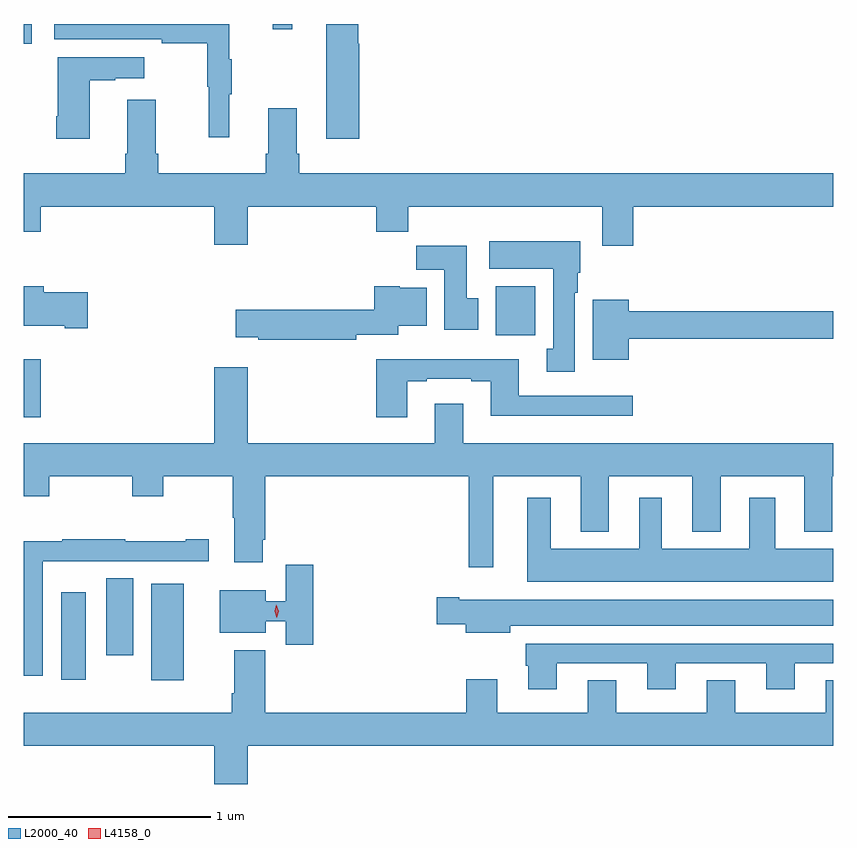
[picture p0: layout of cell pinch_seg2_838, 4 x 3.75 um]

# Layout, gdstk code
import gdstk
lib = gdstk.Library(unit=1e-6, precision=1e-09)
def R(c, l, rs):  # rectangles x0, y0, x1, y1
    for r in rs: c.add(gdstk.rectangle(r[:2], r[2:], *l))
def P(c, l, *ps):  # polygons
    for p in ps: c.add(gdstk.Polygon(p, *l))
L2000_40 = (2000, 40)
L4158_0 = (4158, 0)

pinch_seg2_838 = lib.new_cell('pinch_seg2_838')
R(pinch_seg2_838, L2000_40, [(524.336,630.645,524.497,631.12), (523.892,630.648,524.014,631.078), (524.114,630.768,524.248,631.148), (523.706,631.944,523.79,632.23), (526.037,632.348,526.234,632.59), (523.706,633.789,523.746,633.886), (524.937,633.861,525.034,633.886)])
P(pinch_seg2_838, L2000_40, [(524.723,633.539),(524.734,633.539),(524.734,633.713),(524.723,633.713),(524.723,633.886),(523.857,633.886),(523.857,633.81),(524.389,633.81),(524.389,633.79),(524.613,633.79),(524.613,633.576),(524.62,633.576),(524.62,633.327),(524.723,633.327)],
  [(525.364,633.789),(525.359,633.789),(525.359,633.886),(525.2,633.886),(525.2,633.318),(525.364,633.318)],
  [(524.032,633.607),(524.159,633.607),(524.159,633.617),(524.302,633.617),(524.302,633.721),(523.874,633.721),(523.874,633.43),(523.867,633.43),(523.867,633.318),(524.032,633.318)],
  [(526.718,632.984),(527.706,632.984),(527.706,633.148),(525.068,633.148),(525.068,633.244),(525.055,633.244),(525.055,633.469),(524.915,633.469),(524.915,633.244),(524.903,633.244),(524.903,633.148),(524.372,633.148),(524.372,633.244),(524.359,633.244),(524.359,633.511),(524.219,633.511),(524.219,633.244),(524.207,633.244),(524.207,633.148),(523.706,633.148),(523.706,632.86),(523.79,632.86),(523.79,632.984),(524.648,632.984),(524.648,632.796),(524.812,632.796),(524.812,632.984),(525.449,632.984),(525.449,632.86),(525.605,632.86),(525.605,632.984),(526.565,632.984),(526.565,632.79),(526.718,632.79)],
  [(526.429,632.558),(526.444,632.558),(526.444,632.658),(526.456,632.658),(526.456,632.812),(526.005,632.812),(526.005,632.678),(526.322,632.678),(526.322,632.282),(526.289,632.282),(526.289,632.169),(526.429,632.169)],
  [(525.952,632.532),(525.895,632.532),(525.895,632.791),(525.646,632.791),(525.646,632.672),(525.785,632.672),(525.785,632.376),(525.952,632.376)],
  [(525.35,632.352),(525.556,632.352),(525.556,632.396),(525.697,632.396),(525.697,632.584),(525.564,632.584),(525.564,632.59),(525.439,632.59),(525.439,632.474),(524.754,632.474),(524.754,632.339),(524.866,632.339),(524.866,632.327),(525.35,632.327)],
  [(524.023,632.562),(523.805,632.562),(523.805,632.59),(523.706,632.59),(523.706,632.396),(523.91,632.396),(523.91,632.384),(524.023,632.384)],
  [(526.696,632.332),(527.706,632.332),(527.706,632.468),(526.696,632.468),(526.696,632.524),(526.517,632.524),(526.517,632.228),(526.696,632.228)],
  [(525.601,632.121),(525.697,632.121),(525.697,632.133),(525.917,632.133),(525.917,632.121),(526.013,632.121),(526.013,631.952),(526.714,631.952),(526.714,632.049),(526.153,632.049),(526.153,632.23),(525.449,632.23),(525.449,631.944),(525.601,631.944)],
  [(526.027,631.652),(526.457,631.652),(526.457,631.379),(526.597,631.379),(526.597,631.652),(527.009,631.652),(527.009,631.379),(527.149,631.379),(527.149,631.652),(527.561,631.652),(527.561,631.379),(527.701,631.379),(527.701,631.652),(527.706,631.652),(527.706,631.816),(525.877,631.816),(525.877,632.011),(525.737,632.011),(525.737,631.816),(524.812,631.816),(524.812,632.191),(524.648,632.191),(524.648,631.816),(523.706,631.816),(523.706,631.553),(523.833,631.553),(523.833,631.652),(524.242,631.652),(524.242,631.553),(524.397,631.553),(524.397,631.652),(524.74,631.652),(524.74,631.448),(524.747,631.448),(524.747,631.227),(524.887,631.227),(524.887,631.339),(524.9,631.339),(524.9,631.652),(525.906,631.652),(525.906,631.203),(526.027,631.203)],
  [(527.706,631.294),(527.419,631.294),(527.419,631.546),(527.291,631.546),(527.291,631.294),(526.858,631.294),(526.858,631.546),(526.748,631.546),(526.748,631.294),(526.309,631.294),(526.309,631.546),(526.193,631.546),(526.193,631.13),(527.706,631.13)],
  [(523.8,631.232),(524.01,631.232),(524.01,631.233),(524.62,631.233),(524.62,631.342),(524.507,631.342),(524.507,631.332),(524.207,631.332),(524.207,631.342),(523.897,631.342),(523.897,631.332),(523.706,631.332),(523.706,630.666),(523.8,630.666)],
  [(525.137,631.216),(525.002,631.216),(525.002,631.034),(524.902,631.034),(524.902,631.09),(524.675,631.09),(524.675,630.878),(524.902,630.878),(524.902,630.935),(525.002,630.935),(525.002,630.819),(525.137,630.819)],
  [(526.111,630.914),(527.706,630.914),(527.706,631.042),(525.859,631.042),(525.859,631.055),(525.747,631.055),(525.747,630.92),(525.89,630.92),(525.89,630.878),(526.111,630.878)],
  [(526.339,630.729),(526.787,630.729),(526.787,630.6),(526.927,630.6),(526.927,630.729),(527.375,630.729),(527.375,630.6),(527.515,630.6),(527.515,630.729),(527.706,630.729),(527.706,630.825),(526.187,630.825),(526.187,630.717),(526.199,630.717),(526.199,630.6),(526.339,630.6)],
  [(524.812,630.32),(527.706,630.32),(527.706,630.644),(527.669,630.644),(527.669,630.484),(527.221,630.484),(527.221,630.644),(527.081,630.644),(527.081,630.484),(526.633,630.484),(526.633,630.644),(526.493,630.644),(526.493,630.484),(526.045,630.484),(526.045,630.649),(525.893,630.649),(525.893,630.484),(524.9,630.484),(524.9,630.793),(524.747,630.793),(524.747,630.58),(524.735,630.58),(524.735,630.484),(523.706,630.484),(523.706,630.32),(524.648,630.32),(524.648,630.132),(524.812,630.132)])
P(pinch_seg2_838, L4158_0, [(524.956,630.952),(524.956,630.952),(524.946,630.985),(524.955,631.018),(524.955,631.018),(524.955,631.018),(524.966,630.985),(524.956,630.952)])

lib.write_gds('pinch_seg2_838.gds')
